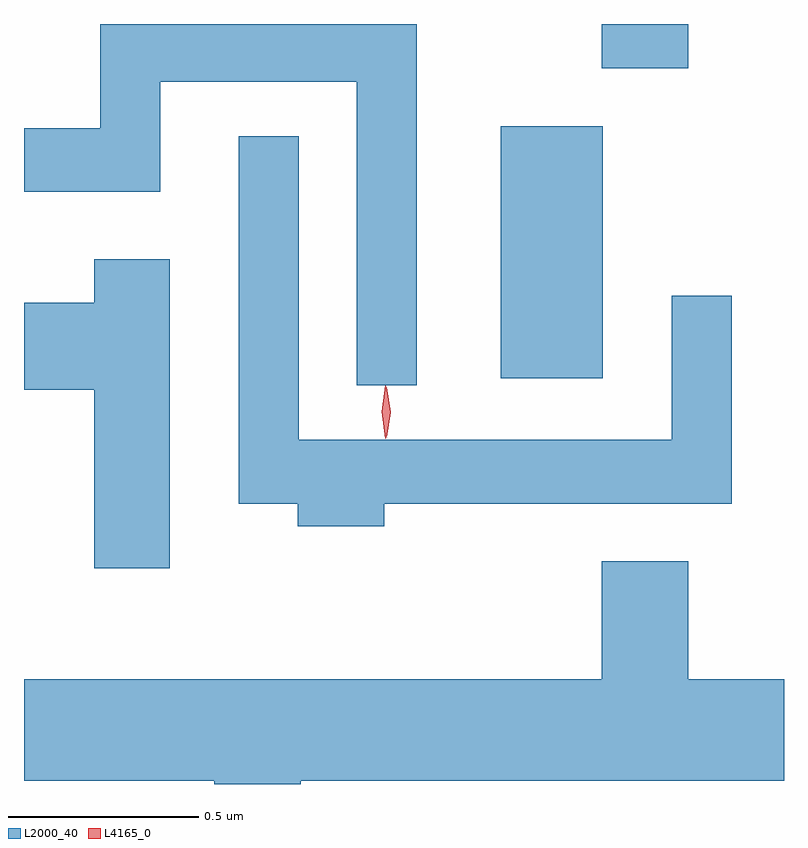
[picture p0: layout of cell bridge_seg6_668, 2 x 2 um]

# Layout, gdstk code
import gdstk
lib = gdstk.Library(unit=1e-6, precision=1e-09)
def R(c, l, rs):  # rectangles x0, y0, x1, y1
    for r in rs: c.add(gdstk.rectangle(r[:2], r[2:], *l))
def P(c, l, *ps):  # polygons
    for p in ps: c.add(gdstk.Polygon(p, *l))
L2000_40 = (2000, 40)
L4165_0 = (4165, 0)

bridge_seg6_668 = lib.new_cell('bridge_seg6_668')
R(bridge_seg6_668, L2000_40, [(308.126,1650.996,308.394,1651.659), (308.391,1651.811,308.619,1651.928)])
P(bridge_seg6_668, L2000_40, [(307.904,1651.928),(307.071,1651.928),(307.071,1651.654),(306.871,1651.654),(306.871,1651.486),(307.229,1651.486),(307.229,1651.776),(307.746,1651.776),(307.746,1650.978),(307.904,1650.978)],
  [(307.819,1650.666),(308.734,1650.666),(308.734,1651.213),(308.576,1651.213),(308.576,1650.834),(307.594,1650.834),(307.594,1651.633),(307.436,1651.633),(307.436,1650.666),(307.591,1650.666),(307.591,1650.606),(307.819,1650.606)],
  [(307.254,1651.309),(307.056,1651.309),(307.056,1651.194),(306.871,1651.194),(306.871,1650.966),(307.056,1650.966),(307.056,1650.496),(307.254,1650.496)],
  [(307.599,1649.936),(308.871,1649.936),(308.871,1650.204),(308.619,1650.204),(308.619,1650.514),(308.391,1650.514),(308.391,1650.204),(306.871,1650.204),(306.871,1649.936),(307.371,1649.936),(307.371,1649.928),(307.599,1649.928)])
P(bridge_seg6_668, L4165_0, [(307.823,1650.837),(307.822,1650.838),(307.813,1650.907),(307.822,1650.976),(307.823,1650.976),(307.823,1650.976),(307.833,1650.907),(307.823,1650.838)],
  [(307.826,1650.839),(307.826,1650.84),(307.816,1650.906),(307.825,1650.972),(307.826,1650.973),(307.826,1650.972),(307.836,1650.906),(307.826,1650.84)])

lib.write_gds('bridge_seg6_668.gds')
